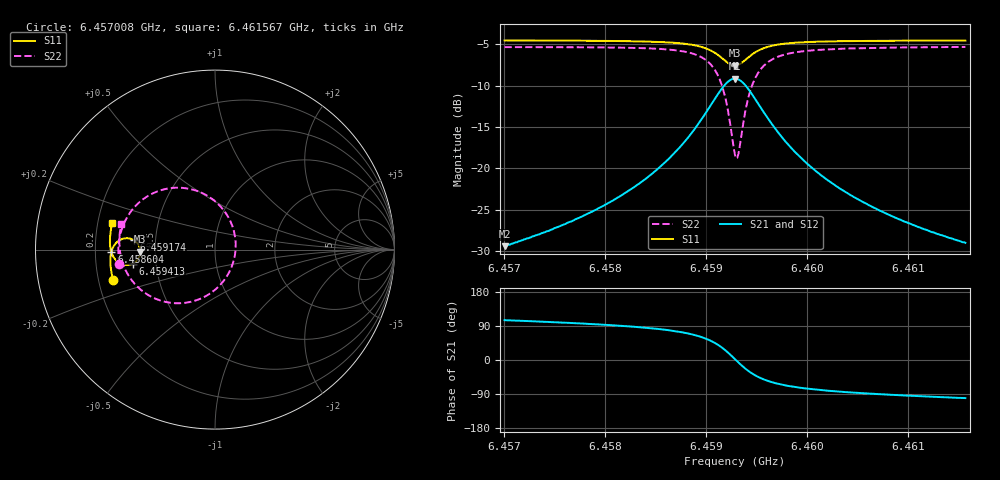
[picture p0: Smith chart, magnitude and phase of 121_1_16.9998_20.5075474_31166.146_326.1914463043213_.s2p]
#  HZ  S  RI  R  50.00
! Rohde & Schwarz Vector Network Analyzer
! Rohde-Schwarz,ZNB20-2Port,1311601062101988,3.16
! Created: UTC 3/20/2024, 10:57:26 PM
! freq[Hz]  re:S11  im:S11  re:S21  im:S21  re:S12  im:S12  re:S22  im:S22
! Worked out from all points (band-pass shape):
!   401 points, 6.457008 GHz to 6.461567 GHz, reference 50 ohm
!   highest |S21| = -9.16 dB at 6.459288 GHz (marker M1); lowest = -29.4 dB at 6.457008 GHz (marker M2)
!   |S21| within 3 dB of the highest: 6.459059 GHz to 6.459515 GHz (455.6 kHz wide, 0.00705 % of centre)
!   lowest |S11| = -7.6 dB at 6.459288 GHz (marker M3), VSWR 2.42, Z = 20.6 - j0.558 ohm
!   |S11| at or under -10 dB: nowhere
!   |S22| runs from -18.8 to -5.3 dB; largest |S21 - S12| = 0.014
!   S11 on the Smith chart (normalised r, x): 6.457008 GHz: 0.26, -0.14; 6.458604 GHz: 0.27, -0.01; 6.459174 GHz: 0.38, +0.05; 6.459413 GHz: 0.37, -0.07; 6.461567 GHz: 0.26, +0.12
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6.457008e9  -0.5668 -0.1712  -0.00887 0.0327  -0.00721 0.0327  -0.5335 -0.0818
6.4577717e9  -0.5805 -0.1042  -0.00549 0.0507  -0.003 0.0502  -0.5385 0.0082
6.4581707e9  -0.5833 -0.0642  8.03e-05 0.0691  0.00319 0.0677  -0.5307 0.0713
6.4585354e9  -0.5795 -0.0205  0.0145 0.0994  0.0185 0.0967  -0.5041 0.1531
6.4586038e9  -0.5772 -0.0111  0.0198 0.1081  0.0239 0.1048  -0.4938 0.1732
6.4587976e9  -0.5644 0.0195  0.0468 0.1391  0.0509 0.1343  -0.4436 0.2425
6.4589457e9  -0.5416 0.0459  0.0926 0.1697  0.0957 0.1631  -0.3593 0.3069
6.4590825e9  -0.4971 0.0634  0.1806 0.1863  0.1815 0.1789  -0.1985 0.3448
6.4591737e9  -0.4521 0.0528  0.2712 0.1543  0.2714 0.1486  -0.0311 0.2928
6.4592421e9  -0.4228 0.0203  0.3319 0.0816  0.3341 0.0763  0.0841 0.1616
6.4592877e9  -0.4159 -0.0112  0.3481 0.0131  0.3518 0.00601  0.1153 0.0336
6.4592991e9  -0.4164 -0.0194  0.3477 -0.00494  0.3517 -0.0125  0.1148 -3.58e-05
6.4593219e9  -0.42 -0.0352  0.342 -0.0398  0.3458 -0.0489  0.1027 -0.0662
6.4593675e9  -0.4358 -0.0614  0.3129 -0.0998  0.3151 -0.1118  0.044 -0.1794
6.4594131e9  -0.4581 -0.078  0.2704 -0.1409  0.2695 -0.1543  -0.042 -0.2539
6.4595043e9  -0.5019 -0.0849  0.1849 -0.172  0.1787 -0.1836  -0.2115 -0.299
6.4596524e9  -0.546 -0.0645  0.0967 -0.1578  0.0882 -0.164  -0.3793 -0.2486
6.459812e9  -0.5679 -0.0368  0.0516 -0.1297  0.044 -0.1323  -0.4596 -0.176
6.4600514e9  -0.5807 -0.0013  0.0224 -0.0979  0.0165 -0.0983  -0.5075 -0.0934
6.4603819e9  -0.5854 0.0383  0.00664 -0.0715  0.00252 -0.0711  -0.5287 -0.0164
6.4608151e9  -0.5838 0.0822  -0.00134 -0.0523  -0.00431 -0.0514  -0.5332 0.0537
6.4615674e9  -0.5719 0.1489  -0.00645 -0.0348  -0.00824 -0.0339  -0.5218 0.1431
